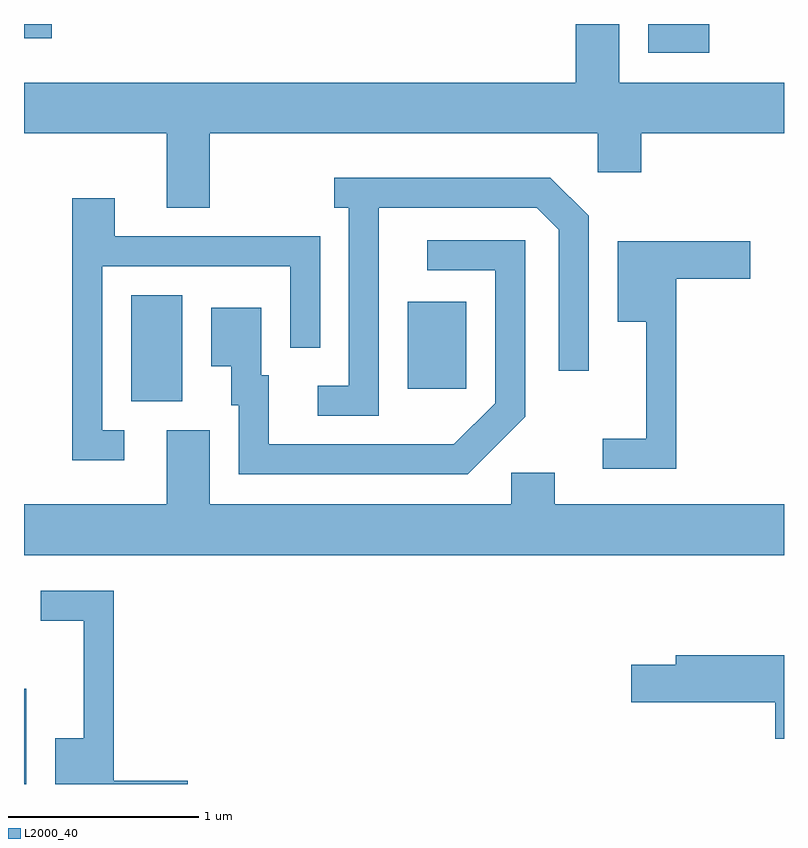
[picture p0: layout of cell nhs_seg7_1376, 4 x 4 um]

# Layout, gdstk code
import gdstk
lib = gdstk.Library(unit=1e-6, precision=1e-09)
def R(c, l, rs):  # rectangles x0, y0, x1, y1
    for r in rs: c.add(gdstk.rectangle(r[:2], r[2:], *l))
def P(c, l, *ps):  # polygons
    for p in ps: c.add(gdstk.Polygon(p, *l))
L2000_40 = (2000, 40)

nhs_seg7_1376 = lib.new_cell('nhs_seg7_1376')
R(nhs_seg7_1376, L2000_40, [(227.611,1684.252,227.624,1684.753), (228.176,1686.266,228.444,1686.824), (229.631,1686.331,229.939,1686.789), (230.896,1688.101,231.218,1688.252), (227.611,1688.176,227.758,1688.252)])
P(nhs_seg7_1376, L2000_40, [(228.589,1687.676),(230.631,1687.676),(230.631,1687.471),(230.859,1687.471),(230.859,1687.676),(231.611,1687.676),(231.611,1687.944),(230.744,1687.944),(230.744,1688.252),(230.516,1688.252),(230.516,1687.944),(227.611,1687.944),(227.611,1687.676),(228.361,1687.676),(228.361,1687.286),(228.589,1687.286)],
  [(229.479,1687.286),(230.309,1687.286),(230.426,1687.169),(230.426,1686.428),(230.584,1686.428),(230.584,1687.242),(230.382,1687.444),(229.243,1687.444),(229.243,1687.286),(229.321,1687.286),(229.321,1686.349),(229.158,1686.349),(229.158,1686.191),(229.479,1686.191)],
  [(228.138,1686.114),(228.024,1686.114),(228.024,1686.976),(229.011,1686.976),(229.011,1686.548),(229.169,1686.548),(229.169,1687.134),(228.089,1687.134),(228.089,1687.334),(227.866,1687.334),(227.866,1685.956),(228.138,1685.956)],
  [(230.249,1686.184),(230.249,1687.114),(229.733,1687.114),(229.733,1686.956),(230.091,1686.956),(230.091,1686.257),(229.874,1686.039),(228.899,1686.039),(228.899,1686.404),(228.859,1686.404),(228.859,1686.759),(228.596,1686.759),(228.596,1686.451),(228.701,1686.451),(228.701,1686.246),(228.741,1686.246),(228.741,1685.881),(229.947,1685.881)],
  [(231.044,1686.911),(231.434,1686.911),(231.434,1687.109),(230.736,1687.109),(230.736,1686.686),(230.886,1686.686),(230.886,1686.069),(230.658,1686.069),(230.658,1685.911),(231.044,1685.911)],
  [(231.611,1685.724),(230.404,1685.724),(230.404,1685.889),(230.176,1685.889),(230.176,1685.724),(228.589,1685.724),(228.589,1686.114),(228.361,1686.114),(228.361,1685.724),(227.611,1685.724),(227.611,1685.456),(231.611,1685.456)],
  [(228.474,1684.269),(228.084,1684.269),(228.084,1685.269),(227.698,1685.269),(227.698,1685.111),(227.926,1685.111),(227.926,1684.494),(227.776,1684.494),(227.776,1684.252),(228.474,1684.252)],
  [(231.611,1684.929),(231.041,1684.929),(231.041,1684.879),(230.806,1684.879),(230.806,1684.681),(231.566,1684.681),(231.566,1684.491),(231.611,1684.491)])

lib.write_gds('nhs_seg7_1376.gds')
